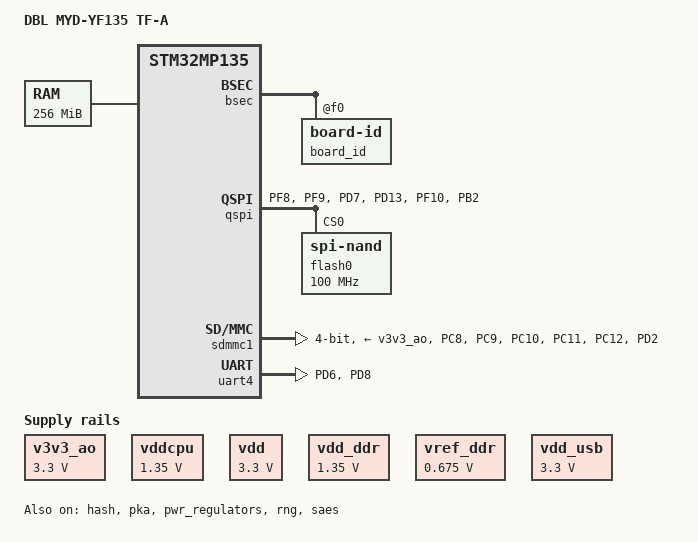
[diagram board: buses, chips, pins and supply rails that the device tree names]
// SPDX-License-Identifier: (GPL-2.0+ OR BSD-3-Clause)
/*
 * TF-A BL2 DTSI for DBL MYD-YF135-256N-256D
 *
 * Based on basiccode-STM32MP135_Dev_Board_Buildroot (same SOM, same DDR chip).
 * The MYC-YF135 SOM provides all power regulation internally with no external PMIC.
 * Added: QSPI SPI-NAND for production boot (not present on basiccode board).
 *
 * DDR: DDR3L 16-bit 533 MHz, 256 MB, with timings taken directly from @BasicCode/STM32MP135_Dev_Board_Buildroot.
 * CPU: 1 GHz via PLL1 VCO @ 2000 MHz.
 */

/* DDR3L 16-bit 533 MHz timings */
#define DDR_MEM_NAME	"DDR3-DDR3L 16bits 533000kHz"
#define DDR_MEM_SPEED	533000
#define DDR_MEM_SIZE	0x10000000

#define DDR_MSTR	0x00040401
#define DDR_MRCTRL0	0x00000010
#define DDR_MRCTRL1	0x00000000
#define DDR_DERATEEN	0x00000000
#define DDR_DERATEINT	0x00800000
#define DDR_PWRCTL	0x00000000
#define DDR_PWRTMG	0x00400010
#define DDR_HWLPCTL	0x00000000
#define DDR_RFSHCTL0	0x00210000
#define DDR_RFSHCTL3	0x00000000
#define DDR_RFSHTMG	0x0081008B
#define DDR_CRCPARCTL0	0x00000000
#define DDR_DRAMTMG0	0x0F101B0F
#define DDR_DRAMTMG1	0x000A041C
#define DDR_DRAMTMG2	0x0608090F
#define DDR_DRAMTMG3	0x0050400C
#define DDR_DRAMTMG4	0x08040608
#define DDR_DRAMTMG5	0x06060403
#define DDR_DRAMTMG6	0x02020002
#define DDR_DRAMTMG7	0x00000202
#define DDR_DRAMTMG8	0x00001005
#define DDR_DRAMTMG14	0x000000A0
#define DDR_ZQCTL0	0xC2000040
#define DDR_DFITMG0	0x02060105
#define DDR_DFITMG1	0x00000202
#define DDR_DFILPCFG0	0x07000000
#define DDR_DFIUPD0	0xC0400003
#define DDR_DFIUPD1	0x00000000
#define DDR_DFIUPD2	0x00000000
#define DDR_DFIPHYMSTR	0x00000000
#define DDR_ODTCFG	0x06000600
#define DDR_ODTMAP	0x00000001
#define DDR_SCHED	0x00000F01
#define DDR_SCHED1	0x00000000
#define DDR_PERFHPR1	0x00000001
#define DDR_PERFLPR1	0x04000200
#define DDR_PERFWR1	0x08000400
#define DDR_DBG0	0x00000000
#define DDR_DBG1	0x00000000
#define DDR_DBGCMD	0x00000000
#define DDR_POISONCFG	0x00000000
#define DDR_PCCFG	0x00000010
#define DDR_PCFGR_0	0x00000000
#define DDR_PCFGW_0	0x00000000
#define DDR_PCFGQOS0_0	0x00100009
#define DDR_PCFGQOS1_0	0x00000020
#define DDR_PCFGWQOS0_0	0x01100B03
#define DDR_PCFGWQOS1_0	0x01000200
#define DDR_ADDRMAP1	0x00080808
#define DDR_ADDRMAP2	0x00000000
#define DDR_ADDRMAP3	0x00000000
#define DDR_ADDRMAP4	0x00001F1F
#define DDR_ADDRMAP5	0x07070707
#define DDR_ADDRMAP6	0x0F0F0707
#define DDR_ADDRMAP9	0x00000000
#define DDR_ADDRMAP10	0x00000000
#define DDR_ADDRMAP11	0x00000000
#define DDR_PGCR	0x01442E02
#define DDR_PTR0	0x0022AA5B
#define DDR_PTR1	0x04841104
#define DDR_PTR2	0x042DA068
#define DDR_ACIOCR	0x10400812
#define DDR_DXCCR	0x00000C40
#define DDR_DSGCR	0xF200011F
#define DDR_DCR		0x0000000B
#define DDR_DTPR0	0x38D488D0
#define DDR_DTPR1	0x098B00D8
#define DDR_DTPR2	0x10023600
#define DDR_MR0		0x00000840
#define DDR_MR1		0x00000000
#define DDR_MR2		0x00000208
#define DDR_MR3		0x00000000
#define DDR_ODTCR	0x00010000
#define DDR_ZQ0CR1	0x00000038
#define DDR_DX0GCR	0x0000CE81
#define DDR_DX1GCR	0x0000CE81

#include <dt-bindings/clock/stm32mp13-clksrc.h>
#include <dt-bindings/pinctrl/stm32-pinfunc.h>

#include "stm32mp135.dtsi"
#include "stm32mp13xf.dtsi"
#include "stm32mp13-pinctrl.dtsi"
#include "stm32mp13-ddr.dtsi"

/ {
	model = "DBL MYD-YF135 TF-A";
	compatible = "myir,stm32mp135d-myd-yf135", "st,stm32mp135";

	aliases {
		serial0 = &uart4;
	};

	chosen {
		stdout-path = "serial0:115200n8";
	};

	memory@c0000000 {
		device_type = "memory";
		reg = <0xc0000000 0x10000000>;
	};

	/*
	 * MYC-YF135 SOM has on-board power regulation, declare all as
	 * fixed always-on regulators; TF-A cannot sequence them.
	 */
	v3v3_ao: v3v3_ao {
		compatible = "regulator-fixed";
		regulator-name = "v3v3_ao";
		regulator-min-microvolt = <3300000>;
		regulator-max-microvolt = <3300000>;
		regulator-always-on;
	};

	vddcpu: vddcpu {
		compatible = "regulator-fixed";
		regulator-name = "vddcpu";
		regulator-min-microvolt = <1350000>;
		regulator-max-microvolt = <1350000>;
		regulator-always-on;
		regulator-over-current-protection;
	};

	vdd: vdd {
		compatible = "regulator-fixed";
		regulator-name = "vdd";
		regulator-min-microvolt = <3300000>;
		regulator-max-microvolt = <3300000>;
		regulator-always-on;
		st,mask-reset;
		regulator-over-current-protection;
	};

	vdd_ddr: vdd_ddr {
		compatible = "regulator-fixed";
		regulator-name = "vdd_ddr";
		regulator-min-microvolt = <1350000>;
		regulator-max-microvolt = <1350000>;
		regulator-always-on;
	};

	vref_ddr: vref_ddr {
		compatible = "regulator-fixed";
		regulator-name = "vref_ddr";
		regulator-min-microvolt = <675000>;
		regulator-max-microvolt = <675000>;
		regulator-always-on;
	};

	vdd_usb: vdd_usb {
		compatible = "regulator-fixed";
		regulator-name = "vdd_usb";
		regulator-min-microvolt = <3300000>;
		regulator-max-microvolt = <3300000>;
		regulator-always-on;
	};

	clocks {
		clk_hsi: clk-hsi {
			clock-frequency = <64000000>;
		};
		clk_lse: clk-lse {
			clock-frequency = <32768>;
			st,drive = <LSEDRV_MEDIUM_HIGH>;
		};
		clk_hse: clk-hse {
			clock-frequency = <24000000>;
		};
		clk_i2sin: clk-i2sin {
			status = "disabled";
		};
	};
};

&pinctrl {
	/* UART4: TX=PD6(AF8), RX=PD8(AF8), inline for TF-A portability */
	uart4_pins_mx: uart4-mx-0 {
		pins1 {
			pinmux = <STM32_PINMUX('D', 6, AF8)>; /* UART4_TX */
			bias-disable;
			drive-push-pull;
			slew-rate = <0>;
		};
		pins2 {
			pinmux = <STM32_PINMUX('D', 8, AF8)>; /* UART4_RX */
			bias-disable;
		};
	};

	/* SDMMC1: standard 4-bit */
	sdmmc1_pins_mx: sdmmc1-mx-0 {
		pins {
			pinmux = <STM32_PINMUX('C', 8,  AF12)>, /* SDMMC1_D0  */
				 <STM32_PINMUX('C', 9,  AF12)>, /* SDMMC1_D1  */
				 <STM32_PINMUX('C', 10, AF12)>, /* SDMMC1_D2  */
				 <STM32_PINMUX('C', 11, AF12)>, /* SDMMC1_D3  */
				 <STM32_PINMUX('C', 12, AF12)>, /* SDMMC1_CK  */
				 <STM32_PINMUX('D', 2,  AF12)>; /* SDMMC1_CMD */
			bias-disable;
			drive-push-pull;
			slew-rate = <1>;
		};
	};

	/*
	 * QSPI: board-specific IO2/IO3 mapping (see README.md, "Key board-specific pin fix").
	 * Combined into one group for simplicity in TF-A.
	 */
	qspi_pins_myir: qspi-myir-0 {
		pins1 {
			pinmux = <STM32_PINMUX('F', 8,  AF10)>, /* QSPI_BK1_IO0 */
				 <STM32_PINMUX('F', 9,  AF10)>, /* QSPI_BK1_IO1 */
				 <STM32_PINMUX('D', 7,  AF11)>, /* QSPI_BK1_IO2 */
				 <STM32_PINMUX('D', 13, AF9)>,  /* QSPI_BK1_IO3 */
				 <STM32_PINMUX('F', 10, AF9)>;  /* QSPI_CLK     */
			bias-disable;
			drive-push-pull;
			slew-rate = <1>;
		};
		pins2 {
			pinmux = <STM32_PINMUX('B', 2, AF9)>;   /* QSPI_BK1_NCS */
			bias-pull-up;
			drive-push-pull;
			slew-rate = <1>;
		};
	};
};

&bsec {
	status = "okay";

	board_id: board-id@f0 {
		reg = <0xf0 0x4>;
		st,non-secure-otp;
	};
};

&cpu0 {
	cpu-supply = <&vddcpu>;
};

&ddr {
	vdd-supply = <&vdd_ddr>;
	vref-supply = <&vref_ddr>;
};

&hash {
	status = "okay";
};

&pka {
	status = "okay";
};

&pwr_regulators {
	status = "okay";
	vdd-supply = <&vdd>;
	vdd_3v3_usbfs-supply = <&vdd_usb>;
};

&qspi {
	pinctrl-names = "default";
	pinctrl-0 = <&qspi_pins_myir>;
	reg = <0x58003000 0x1000>, <0x70000000 0x4000000>;
	#address-cells = <1>;
	#size-cells = <0>;
	status = "okay";

	flash0: spi-nand@0 {
		compatible = "spi-nand";
		reg = <0>;
		spi-rx-bus-width = <4>;
		spi-tx-bus-width = <4>;
		spi-max-frequency = <100000000>;
	};
};

&rcc {
	status = "okay";

	st,clksrc = <
		CLK_MPU_PLL1P
		CLK_AXI_PLL2P
		CLK_MLAHBS_PLL3
		CLK_CKPER_HSE
		CLK_SDMMC1_PLL4P
		CLK_QSPI_PLL4P
		CLK_STGEN_HSE
		CLK_UART4_HSI
		CLK_RNG1_PLL4R
		CLK_SAES_AXI
	>;

	st,clkdiv = <
		DIV(DIV_MPU, 1)
		DIV(DIV_AXI, 0)
		DIV(DIV_MLAHB, 0)
		DIV(DIV_APB1, 1)
		DIV(DIV_APB2, 1)
		DIV(DIV_APB3, 1)
		DIV(DIV_APB4, 1)
		DIV(DIV_APB5, 2)
		DIV(DIV_APB6, 1)
	>;

	st,pll_vco {
		pll1_vco_2000Mhz: pll1-vco-2000Mhz {
			src = <CLK_PLL12_HSE>;
			divmn = <1 82>;
			frac = <0xAAA>;
		};
		pll2_vco_1066Mhz: pll2-vco-1066Mhz {
			src = <CLK_PLL12_HSE>;
			divmn = <2 65>;
			frac = <0x1400>;
		};
		pll3_vco_417Mhz: pll3-vco-417Mhz {
			src = <CLK_PLL3_HSE>;
			divmn = <1 33>;
			frac = <0x1a04>;
		};
		pll4_vco_600Mhz: pll4-vco-600Mhz {
			src = <CLK_PLL4_HSE>;
			divmn = <1 49>;
		};
	};

	/* PLL1: VCO=2000 MHz -> P=1000 MHz (CPU @ 1 GHz) */
	pll1: st,pll@0 {
		compatible = "st,stm32mp1-pll";
		reg = <0>;
		st,pll = <&pll1_cfg1>;
		pll1_cfg1: pll1_cfg1 {
			st,pll_vco = <&pll1_vco_2000Mhz>;
			st,pll_div_pqr = <0 1 1>;
		};
	};

	/* PLL2: VCO=1066 MHz -> P=533 MHz (AXI), R=533 MHz (DDR) */
	pll2: st,pll@1 {
		compatible = "st,stm32mp1-pll";
		reg = <1>;
		st,pll = <&pll2_cfg1>;
		pll2_cfg1: pll2_cfg1 {
			st,pll_vco = <&pll2_vco_1066Mhz>;
			st,pll_div_pqr = <1 1 0>;
		};
	};

	/* PLL3: VCO=417 MHz -> P=208 MHz, Q=24 MHz, R=11 MHz */
	pll3: st,pll@2 {
		compatible = "st,stm32mp1-pll";
		reg = <2>;
		st,pll = <&pll3_cfg1>;
		pll3_cfg1: pll3_cfg1 {
			st,pll_vco = <&pll3_vco_417Mhz>;
			st,pll_div_pqr = <1 16 36>;
		};
	};

	/* PLL4: VCO=600 MHz -> P=100 MHz, Q=10 MHz, R=50 MHz */
	pll4: st,pll@3 {
		compatible = "st,stm32mp1-pll";
		reg = <3>;
		st,pll = <&pll4_cfg1>;
		pll4_cfg1: pll4_cfg1 {
			st,pll_vco = <&pll4_vco_600Mhz>;
			st,pll_div_pqr = <5 59 11>;
		};
	};
};

&rng {
	status = "okay";
};

&saes {
	status = "okay";
};

&sdmmc1 {
	pinctrl-names = "default";
	pinctrl-0 = <&sdmmc1_pins_mx>;
	disable-wp;
	st,neg-edge;
	bus-width = <4>;
	vmmc-supply = <&v3v3_ao>;
	status = "okay";
};

&uart4 {
	pinctrl-names = "default";
	pinctrl-0 = <&uart4_pins_mx>;
	status = "okay";
};
